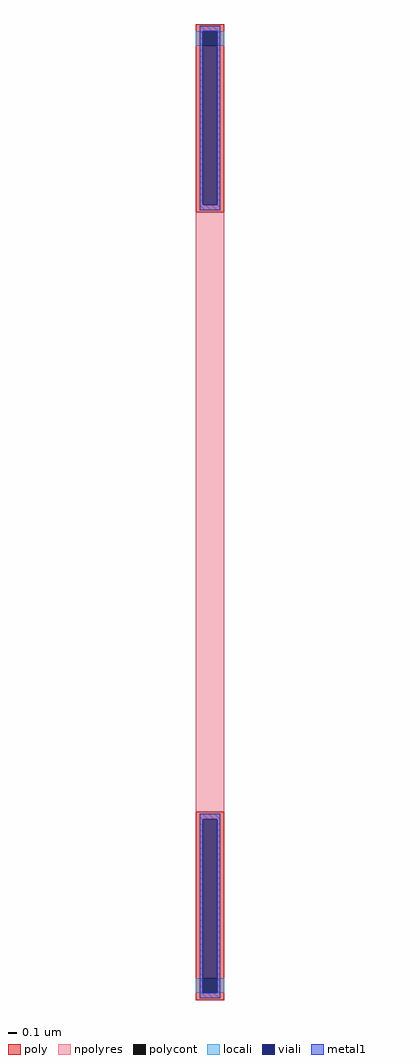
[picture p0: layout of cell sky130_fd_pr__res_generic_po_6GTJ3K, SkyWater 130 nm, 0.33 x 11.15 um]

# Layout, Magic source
magic
tech sky130A
magscale 1 2
<< poly >>
rect -33 1099 33 1115
rect -33 1065 -17 1099
rect 17 1065 33 1099
rect -33 685 33 1065
rect -33 -1065 33 -685
rect -33 -1099 -17 -1065
rect 17 -1099 33 -1065
rect -33 -1115 33 -1099
<< polycont >>
rect -17 1065 17 1099
rect -17 -1099 17 -1065
<< npolyres >>
rect -33 -685 33 685
<< locali >>
rect -33 1065 -17 1099
rect 17 1065 33 1099
rect -33 -1099 -17 -1065
rect 17 -1099 33 -1065
<< viali >>
rect -17 1065 17 1099
rect -17 702 17 1065
rect -17 -1065 17 -702
rect -17 -1099 17 -1065
<< metal1 >>
rect -23 1099 23 1111
rect -23 702 -17 1099
rect 17 702 23 1099
rect -23 690 23 702
rect -23 -702 23 -690
rect -23 -1099 -17 -702
rect 17 -1099 23 -702
rect -23 -1111 23 -1099
<< properties >>
string gencell sky130_fd_pr__res_generic_po
string library sky130
string parameters w 0.33 l 6.846 m 1 nx 1 wmin 0.330 lmin 1.650 rho 48.2 val 999.93 dummy 0 dw 0.0 term 0.0 sterm 0.0 caplen 0.4 snake 0 guard 0 glc 1 grc 1 gtc 1 gbc 1 roverlap 0 endcov 100 full_metal 1 hv_guard 0 n_guard 0 vias 1 viagb 0 viagt 0 viagl 0 viagr 0
<< end >>
